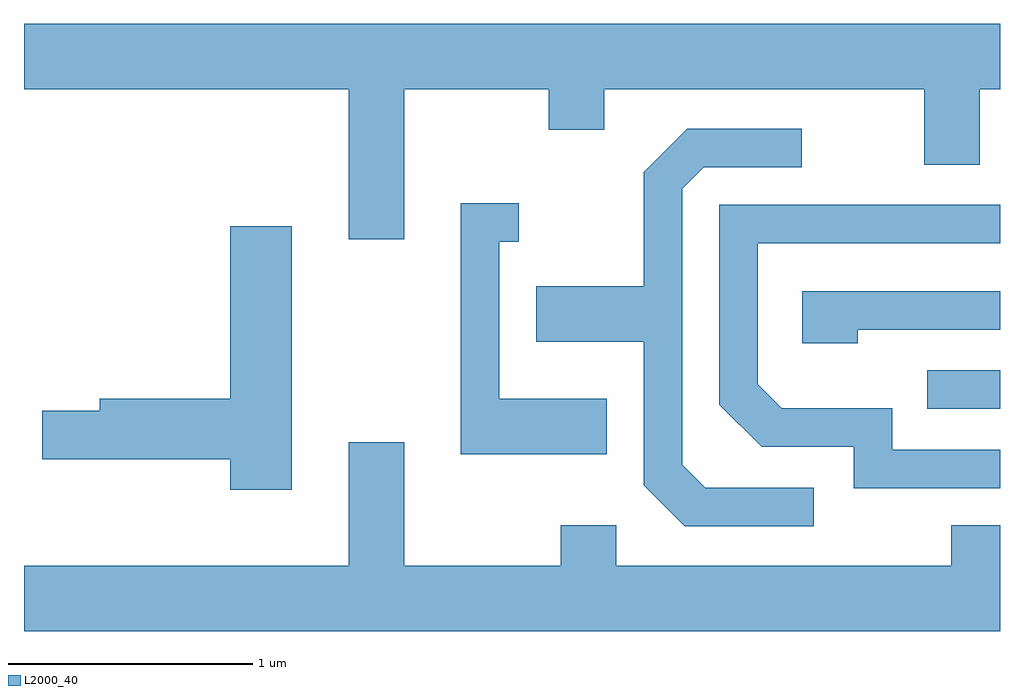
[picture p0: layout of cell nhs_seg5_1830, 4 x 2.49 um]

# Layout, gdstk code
import gdstk
lib = gdstk.Library(unit=1e-6, precision=1e-09)
def R(c, l, rs):  # rectangles x0, y0, x1, y1
    for r in rs: c.add(gdstk.rectangle(r[:2], r[2:], *l))
def P(c, l, *ps):  # polygons
    for p in ps: c.add(gdstk.Polygon(p, *l))
L2000_40 = (2000, 40)

nhs_seg5_1830 = lib.new_cell('nhs_seg5_1830')
R(nhs_seg5_1830, L2000_40, [(243.313,1437.726,243.611,1437.884)])
P(nhs_seg5_1830, L2000_40, [(241.169,1439.036),(241.761,1439.036),(241.761,1438.871),(241.989,1438.871),(241.989,1439.036),(243.301,1439.036),(243.301,1438.726),(243.529,1438.726),(243.529,1439.036),(243.611,1439.036),(243.611,1439.304),(239.611,1439.304),(239.611,1439.036),(240.941,1439.036),(240.941,1438.421),(241.169,1438.421)],
  [(242.848,1437.404),(242.402,1437.404),(242.309,1437.497),(242.309,1438.629),(242.397,1438.716),(242.798,1438.716),(242.798,1438.874),(242.329,1438.874),(242.151,1438.697),(242.151,1438.229),(241.711,1438.229),(241.711,1438.001),(242.151,1438.001),(242.151,1437.414),(242.319,1437.246),(242.848,1437.246)],
  [(241.999,1437.769),(241.559,1437.769),(241.559,1438.411),(241.638,1438.411),(241.638,1438.569),(241.401,1438.569),(241.401,1437.541),(241.999,1437.541)],
  [(243.611,1437.559),(243.169,1437.559),(243.169,1437.729),(242.717,1437.729),(242.619,1437.827),(242.619,1438.406),(243.611,1438.406),(243.611,1438.564),(242.461,1438.564),(242.461,1437.744),(242.634,1437.571),(243.011,1437.571),(243.011,1437.401),(243.611,1437.401)],
  [(240.709,1438.474),(240.456,1438.474),(240.456,1437.769),(239.921,1437.769),(239.921,1437.719),(239.686,1437.719),(239.686,1437.521),(240.456,1437.521),(240.456,1437.396),(240.709,1437.396)],
  [(243.029,1438.051),(243.611,1438.051),(243.611,1438.209),(242.801,1438.209),(242.801,1437.996),(243.029,1437.996)],
  [(243.611,1437.249),(243.411,1437.249),(243.411,1437.084),(242.039,1437.084),(242.039,1437.249),(241.811,1437.249),(241.811,1437.084),(241.169,1437.084),(241.169,1437.589),(240.941,1437.589),(240.941,1437.084),(239.611,1437.084),(239.611,1436.816),(243.611,1436.816)])

lib.write_gds('nhs_seg5_1830.gds')
